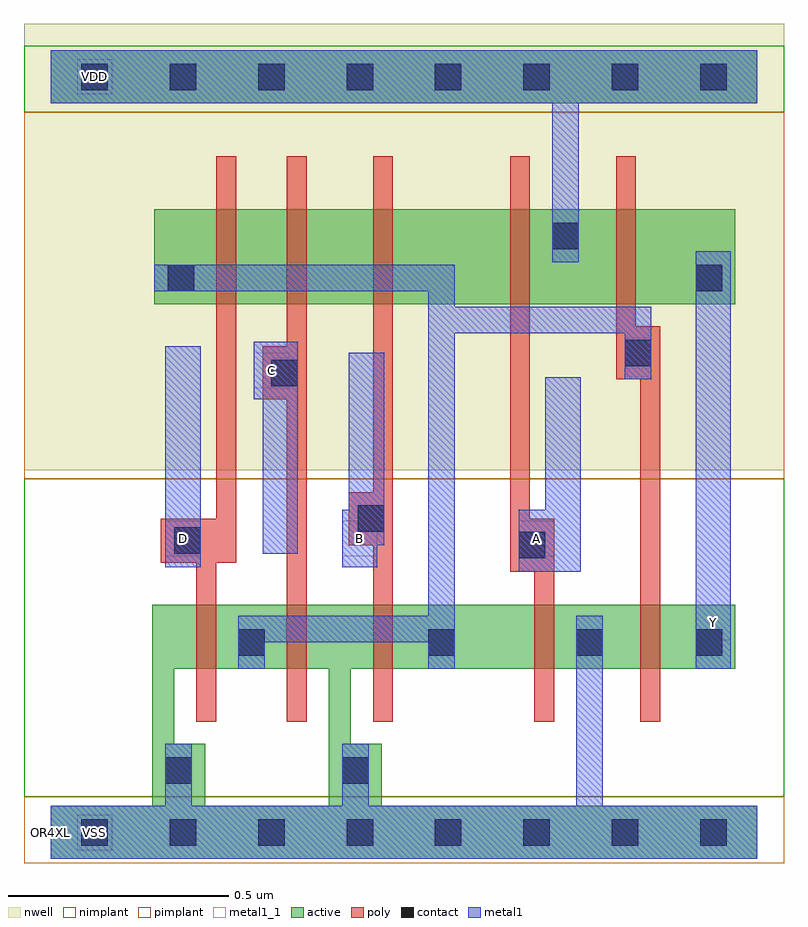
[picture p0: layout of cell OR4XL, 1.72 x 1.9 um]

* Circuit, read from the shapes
.subckt OR4XL A B C D VDD VSS Y
M1 n1 D VSS VSS nfet w=0.145u l=0.045u
M2 VSS C n1 VSS nfet w=0.145u l=0.045u
M3 n1 B VSS VSS nfet w=0.145u l=0.045u
M4 VSS A n1 VSS nfet w=0.145u l=0.045u
M5 Y n1 VSS VSS nfet w=0.145u l=0.045u
M6 n2 D n1 VDD pfet w=0.215u l=0.045u
M7 n3 C n2 VDD pfet w=0.215u l=0.045u
M8 n4 B n3 VDD pfet w=0.215u l=0.045u
M9 VDD A n4 VDD pfet w=0.215u l=0.045u
M10 Y n1 VDD VDD pfet w=0.215u l=0.045u
.ends

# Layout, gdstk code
import gdstk
lib = gdstk.Library(unit=1e-6, precision=5e-10)
def R(c, l, rs):  # rectangles x0, y0, x1, y1
    for r in rs: c.add(gdstk.rectangle(r[:2], r[2:], *l))
def A(c, l, x, y, w, h, nx, ny, dx, dy):  # array of equal rectangles
    R(c, l, [(x+i*dx, y+j*dy, x+i*dx+w, y+j*dy+h) for i in range(nx) for j in range(ny)])
def P(c, l, *ps):  # polygons
    for p in ps: c.add(gdstk.Polygon(p, *l))
active = (1, 0)
nwell = (2, 0)
poly = (3, 0)
nimplant = (4, 0)
pimplant = (5, 0)
contact = (6, 0)
metal1 = (7, 0)
metal1_1 = (7, 1)

or4xl = lib.new_cell('OR4XL')
R(or4xl, active, [(0.235,1.195,1.55,1.41), (0,1.65,1.6,1.77)])
P(or4xl, active, [(0.23,0.515),(1.55,0.515),(1.55,0.37),(0.68,0.37),(0.68,0.2),(0.75,0.2),(0.75,0.06),(1.6,0.06),(1.6,-0.06),(0,-0.06),(0,0.06),(0.23,0.06),(0.23,0.37),(0.28,0.37),(0.28,0.2),(0.35,0.2),(0.35,0.06),(0.63,0.06),(0.63,0.37),(0.23,0.37)])
R(or4xl, nwell, [(-0.06,0.82,1.66,1.83)])
P(or4xl, poly, [(0.375,1.53),(0.42,1.53),(0.42,0.61),(0.375,0.61),(0.375,0.25),(0.33,0.25),(0.33,0.61),(0.25,0.61),(0.25,0.71),(0.375,0.71)],
  [(0.535,1.53),(0.58,1.53),(0.58,0.25),(0.535,0.25),(0.535,0.98),(0.48,0.98),(0.48,1.1),(0.535,1.1)],
  [(0.73,1.53),(0.775,1.53),(0.775,0.25),(0.73,0.25),(0.73,0.65),(0.675,0.65),(0.675,0.77),(0.73,0.77)],
  [(1.04,1.53),(1.085,1.53),(1.085,0.71),(1.14,0.71),(1.14,0.25),(1.095,0.25),(1.095,0.59),(1.04,0.59)],
  [(1.28,1.53),(1.325,1.53),(1.325,1.145),(1.38,1.145),(1.38,0.25),(1.335,0.25),(1.335,1.025),(1.28,1.025)])
R(or4xl, nimplant, [(-0.06,0.08,1.66,0.8), (-0.06,1.63,1.66,1.78)])
R(or4xl, pimplant, [(-0.06,-0.07,1.66,0.08), (-0.06,0.8,1.66,1.63)])
A(or4xl, contact, 0.07, -0.03, 0.06, 0.06, 8, 2, 0.2, 1.71)
R(or4xl, contact, [(0.26,0.11,0.32,0.17), (0.66,0.11,0.72,0.17), (0.425,0.4,0.485,0.46), (0.855,0.4,0.915,0.46), (1.19,0.4,1.25,0.46), (1.46,0.4,1.52,0.46), (1.06,0.62,1.12,0.68), (0.28,0.63,0.34,0.69), (0.695,0.68,0.755,0.74), (0.5,1.01,0.56,1.07), (1.3,1.055,1.36,1.115), (0.265,1.225,0.325,1.285), (1.46,1.225,1.52,1.285), (1.135,1.32,1.195,1.38)])
R(or4xl, metal1, [(1.46,0.37,1.54,1.315), (0.26,0.6,0.34,1.1)])
P(or4xl, metal1, [(0.26,0.2),(0.32,0.2),(0.32,0.06),(0.66,0.06),(0.66,0.2),(0.72,0.2),(0.72,0.06),(1.19,0.06),(1.19,0.49),(1.25,0.49),(1.25,0.06),(1.6,0.06),(1.6,-0.06),(0,-0.06),(0,0.06),(0.26,0.06)],
  [(0,1.77),(1.6,1.77),(1.6,1.65),(1.195,1.65),(1.195,1.29),(1.135,1.29),(1.135,1.65),(0,1.65)],
  [(0.235,1.285),(0.915,1.285),(0.915,1.19),(1.36,1.19),(1.36,1.025),(1.3,1.025),(1.3,1.13),(0.915,1.13),(0.915,0.37),(0.855,0.37),(0.855,0.43),(0.485,0.43),(0.485,0.37),(0.425,0.37),(0.425,0.49),(0.855,0.49),(0.855,1.225),(0.235,1.225)],
  [(0.675,1.085),(0.755,1.085),(0.755,0.65),(0.74,0.65),(0.74,0.6),(0.66,0.6),(0.66,0.73),(0.675,0.73)],
  [(0.46,1.11),(0.56,1.11),(0.56,0.63),(0.48,0.63),(0.48,0.98),(0.46,0.98)],
  [(1.12,1.03),(1.2,1.03),(1.2,0.59),(1.06,0.59),(1.06,0.73),(1.12,0.73)])
A(or4xl, metal1_1, 0.26, 0.625, 0.08, 0.08, 3, 1, 0.4, 0)
R(or4xl, metal1_1, [(0.06,-0.04,0.14,0.04), (1.46,0.435,1.54,0.515), (0.46,1.005,0.54,1.085), (0.06,1.67,0.14,1.75)])
or4xl.add(gdstk.Label('Y', (1.5,0.475), layer=7, texttype=1))
or4xl.add(gdstk.Label('B', (0.7,0.665), layer=7, texttype=1))
or4xl.add(gdstk.Label('C', (0.5,1.045), layer=7, texttype=1))
or4xl.add(gdstk.Label('D', (0.3,0.665), layer=7, texttype=1))
or4xl.add(gdstk.Label('A', (1.1,0.665), layer=7, texttype=1))
or4xl.add(gdstk.Label('VDD', (0.1,1.71), layer=7, texttype=1))
or4xl.add(gdstk.Label('VSS', (0.1,0), layer=7, texttype=1))
or4xl.add(gdstk.Label('OR4XL', (0,0), layer=63, texttype=0))

lib.write_gds('OR4XL.gds')
